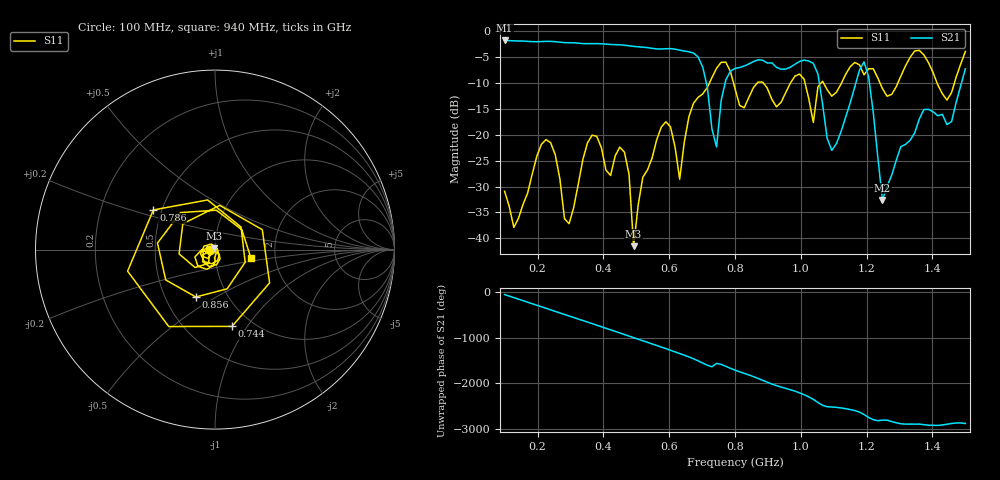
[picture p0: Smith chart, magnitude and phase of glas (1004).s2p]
! NanoVNA-App
! Date: 2025-09-25 16:03:17
! Start: 100MHz Stop: 1,5GHz Points: 101
! S-Parameter data: F S11 S21 S12 S22
# Hz S RI R 50
!  Frequency  S11_Real  S11_Imag  S21_Real  S21_Imag  S12_Real  S12_Imag  S22_Real  S22_Imag
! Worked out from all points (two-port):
!   101 points, 100 MHz to 1.5 GHz, reference 50 ohm
!   highest |S21| = -1.80 dB at 100 MHz (marker M1); lowest = -32.6 dB at 1.248 GHz (marker M2)
!   |S21| within 3 dB of the highest: start of sweep to 684.4 MHz
!   lowest |S11| = -41.5 dB at 492 MHz (marker M3), VSWR 1.02, Z = 49.4 + j0.617 ohm
!   |S11| at or under -10 dB: start of sweep to 722.4 MHz; 795.5 MHz to 867.8 MHz (72.38 MHz wide, 8.7 % of centre); 886.1 MHz to 968.6 MHz (82.55 MHz wide, 8.9 % of centre) (the widest 3 of 7)
!   S12 and S22 are empty: the file has one direction only
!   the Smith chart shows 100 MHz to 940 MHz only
!   S11 on the Smith chart (normalised r, x): 100 MHz: 0.94, -0.01; 744 MHz: 0.81, -0.85; 786 MHz: 0.45, +0.24; 856 MHz: 0.71, -0.41; 940 MHz: 1.49, -0.15
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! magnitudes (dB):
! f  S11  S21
! 100 MHz  -30.9  -1.8
! 128 MHz  -37.9  -1.9
! 226 MHz  -20.9  -2.0
! 296 MHz  -37.2  -2.2
! 338 MHz  -24.7  -2.4
! 464 MHz  -23.4  -2.7
! 492 MHz  -41.5  -3.0
! 576 MHz  -18.5  -3.5
! 632 MHz  -28.6  -3.7
! 702 MHz  -12.1  -7.0
! 744 MHz  -7.2  -22.4
! 786 MHz  -7.8  -7.7
! 800 MHz  -11.1  -7.2
! 856 MHz  -10.9  -5.9
! 940 MHz  -13.7  -7.4
! 996 MHz  -8.3  -5.9
! 1.038 GHz  -17.6  -6.2
! 1.094 GHz  -12.5  -23.0
! 1.192 GHz  -8.4  -5.9
! 1.248 GHz  -11.1  -32.6
! 1.276 GHz  -12.2  -27.8
! 1.5 GHz  -3.9  -7.3
